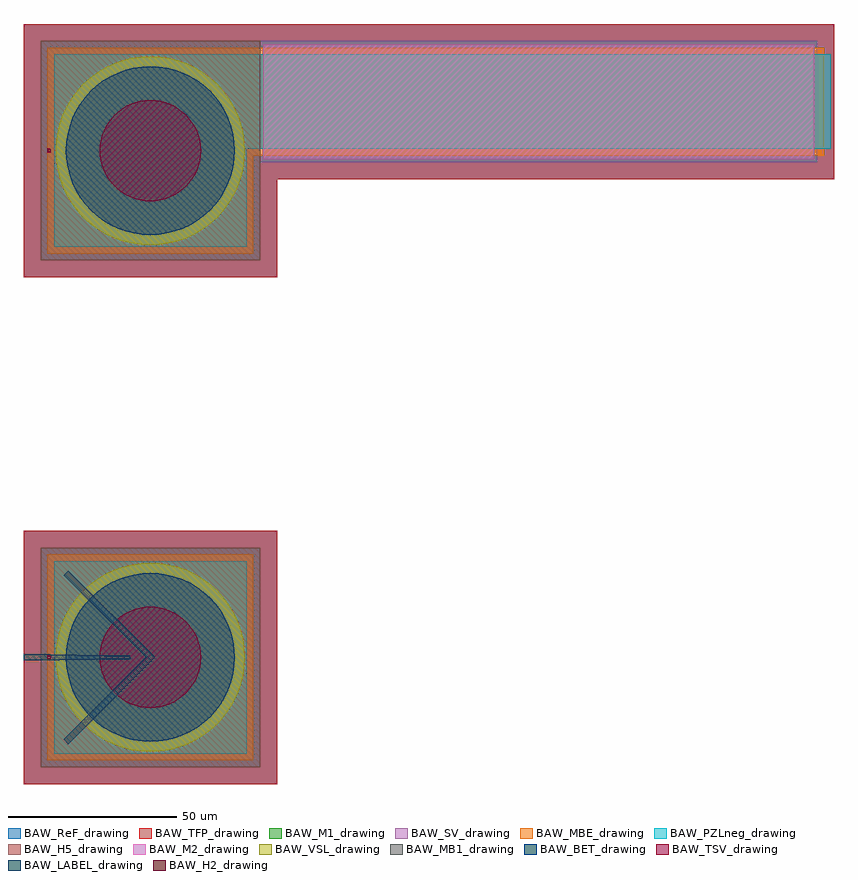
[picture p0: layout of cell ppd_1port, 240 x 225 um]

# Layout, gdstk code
import gdstk
lib = gdstk.Library(unit=1e-6, precision=1e-09)
def R(c, l, rs):  # rectangles x0, y0, x1, y1
    for r in rs: c.add(gdstk.rectangle(r[:2], r[2:], *l))
def P(c, l, *ps):  # polygons
    for p in ps: c.add(gdstk.Polygon(p, *l))
BAW_MBE_drawing = (2, 0)
BAW_SV_drawing = (7, 0)
BAW_M1_drawing = (8, 0)
BAW_MB1_drawing = (10, 0)
BAW_TSV_drawing = (11, 0)
BAW_BET_drawing = (21, 0)
BAW_TFP_drawing = (26, 0)
BAW_ReF_drawing = (33, 0)
BAW_H2_drawing = (40, 0)
BAW_M2_drawing = (81, 0)
BAW_LABEL_drawing = (100, 0)
BAW_H5_drawing = (202, 0)
BAW_VSL_drawing = (246, 0)
BAW_PZLneg_drawing = (264, 0)

ppd_1port = lib.new_cell('ppd_1port')
R(ppd_1port, BAW_MBE_drawing, [(7,7,68,68), (7,157,68,218), (68,186,237,218)])
R(ppd_1port, BAW_SV_drawing, [(5,5,70,70), (5,155,70,220), (70,184,235,220)])
R(ppd_1port, BAW_M1_drawing, [(5,5,70,70), (5,155,70,220), (70,184,235,220)])
P(ppd_1port, BAW_MB1_drawing, [(62.5,187.5),(62.38,189.95),(62.02,192.377),(61.424,194.757),(60.597,197.067),(59.548,199.285),(58.287,201.389),(56.825,203.36),(55.178,205.178),(53.36,206.825),(51.389,208.287),(49.285,209.548),(47.067,210.597),(44.757,211.424),(42.377,212.02),(39.95,212.38),(37.5,212.5),(35.05,212.38),(32.623,212.02),(30.243,211.424),(27.933,210.597),(25.715,209.548),(23.611,208.287),(21.64,206.825),(19.822,205.178),(18.175,203.36),(16.713,201.389),(15.452,199.285),(14.403,197.067),(13.576,194.757),(12.98,192.377),(12.62,189.95),(12.5,187.5),(12.62,185.05),(12.98,182.623),(13.576,180.243),(14.403,177.933),(15.452,175.715),(16.713,173.611),(18.175,171.64),(19.822,169.822),(21.64,168.175),(23.611,166.713),(25.715,165.452),(27.933,164.403),(30.243,163.576),(32.623,162.98),(35.05,162.62),(37.5,162.5),(39.95,162.62),(42.377,162.98),(44.757,163.576),(47.067,164.403),(49.285,165.452),(51.389,166.713),(53.36,168.175),(55.178,169.822),(56.825,171.64),(58.287,173.611),(59.548,175.715),(60.597,177.933),(61.424,180.243),(62.02,182.623),(62.38,185.05)],
  [(62.5,37.5),(62.38,39.95),(62.02,42.377),(61.424,44.757),(60.597,47.067),(59.548,49.285),(58.287,51.389),(56.825,53.36),(55.178,55.178),(53.36,56.825),(51.389,58.287),(49.285,59.548),(47.067,60.597),(44.757,61.424),(42.377,62.02),(39.95,62.38),(37.5,62.5),(35.05,62.38),(32.623,62.02),(30.243,61.424),(27.933,60.597),(25.715,59.548),(23.611,58.287),(21.64,56.825),(19.822,55.178),(18.175,53.36),(16.713,51.389),(15.452,49.285),(14.403,47.067),(13.576,44.757),(12.98,42.377),(12.62,39.95),(12.5,37.5),(12.62,35.05),(12.98,32.623),(13.576,30.243),(14.403,27.933),(15.452,25.715),(16.713,23.611),(18.175,21.64),(19.822,19.822),(21.64,18.175),(23.611,16.713),(25.715,15.452),(27.933,14.403),(30.243,13.576),(32.623,12.98),(35.05,12.62),(37.5,12.5),(39.95,12.62),(42.377,12.98),(44.757,13.576),(47.067,14.403),(49.285,15.452),(51.389,16.713),(53.36,18.175),(55.178,19.822),(56.825,21.64),(58.287,23.611),(59.548,25.715),(60.597,27.933),(61.424,30.243),(62.02,32.623),(62.38,35.05)])
P(ppd_1port, BAW_TSV_drawing, [(52.5,187.5),(52.428,188.97),(52.212,190.426),(51.854,191.854),(51.358,193.24),(50.729,194.571),(49.972,195.834),(49.095,197.016),(48.107,198.107),(47.016,199.095),(45.834,199.972),(44.571,200.729),(43.24,201.358),(41.854,201.854),(40.426,202.212),(38.97,202.428),(37.5,202.5),(36.03,202.428),(34.574,202.212),(33.146,201.854),(31.76,201.358),(30.429,200.729),(29.166,199.972),(27.984,199.095),(26.893,198.107),(25.905,197.016),(25.028,195.834),(24.271,194.571),(23.642,193.24),(23.146,191.854),(22.788,190.426),(22.572,188.97),(22.5,187.5),(22.572,186.03),(22.788,184.574),(23.146,183.146),(23.642,181.76),(24.271,180.429),(25.028,179.166),(25.905,177.984),(26.893,176.893),(27.984,175.905),(29.166,175.028),(30.429,174.271),(31.76,173.642),(33.146,173.146),(34.574,172.788),(36.03,172.572),(37.5,172.5),(38.97,172.572),(40.426,172.788),(41.854,173.146),(43.24,173.642),(44.571,174.271),(45.834,175.028),(47.016,175.905),(48.107,176.893),(49.095,177.984),(49.972,179.166),(50.729,180.429),(51.358,181.76),(51.854,183.146),(52.212,184.574),(52.428,186.03)],
  [(52.5,37.5),(52.428,38.97),(52.212,40.426),(51.854,41.854),(51.358,43.24),(50.729,44.571),(49.972,45.834),(49.095,47.016),(48.107,48.107),(47.016,49.095),(45.834,49.972),(44.571,50.729),(43.24,51.358),(41.854,51.854),(40.426,52.212),(38.97,52.428),(37.5,52.5),(36.03,52.428),(34.574,52.212),(33.146,51.854),(31.76,51.358),(30.429,50.729),(29.166,49.972),(27.984,49.095),(26.893,48.107),(25.905,47.016),(25.028,45.834),(24.271,44.571),(23.642,43.24),(23.146,41.854),(22.788,40.426),(22.572,38.97),(22.5,37.5),(22.572,36.03),(22.788,34.574),(23.146,33.146),(23.642,31.76),(24.271,30.429),(25.028,29.166),(25.905,27.984),(26.893,26.893),(27.984,25.905),(29.166,25.028),(30.429,24.271),(31.76,23.642),(33.146,23.146),(34.574,22.788),(36.03,22.572),(37.5,22.5),(38.97,22.572),(40.426,22.788),(41.854,23.146),(43.24,23.642),(44.571,24.271),(45.834,25.028),(47.016,25.905),(48.107,26.893),(49.095,27.984),(49.972,29.166),(50.729,30.429),(51.358,31.76),(51.854,33.146),(52.212,34.574),(52.428,36.03)])
P(ppd_1port, BAW_BET_drawing, [(62.5,187.5),(62.38,189.95),(62.02,192.377),(61.424,194.757),(60.597,197.067),(59.548,199.285),(58.287,201.389),(56.825,203.36),(55.178,205.178),(53.36,206.825),(51.389,208.287),(49.285,209.548),(47.067,210.597),(44.757,211.424),(42.377,212.02),(39.95,212.38),(37.5,212.5),(35.05,212.38),(32.623,212.02),(30.243,211.424),(27.933,210.597),(25.715,209.548),(23.611,208.287),(21.64,206.825),(19.822,205.178),(18.175,203.36),(16.713,201.389),(15.452,199.285),(14.403,197.067),(13.576,194.757),(12.98,192.377),(12.62,189.95),(12.5,187.5),(12.62,185.05),(12.98,182.623),(13.576,180.243),(14.403,177.933),(15.452,175.715),(16.713,173.611),(18.175,171.64),(19.822,169.822),(21.64,168.175),(23.611,166.713),(25.715,165.452),(27.933,164.403),(30.243,163.576),(32.623,162.98),(35.05,162.62),(37.5,162.5),(39.95,162.62),(42.377,162.98),(44.757,163.576),(47.067,164.403),(49.285,165.452),(51.389,166.713),(53.36,168.175),(55.178,169.822),(56.825,171.64),(58.287,173.611),(59.548,175.715),(60.597,177.933),(61.424,180.243),(62.02,182.623),(62.38,185.05)],
  [(62.5,37.5),(62.38,39.95),(62.02,42.377),(61.424,44.757),(60.597,47.067),(59.548,49.285),(58.287,51.389),(56.825,53.36),(55.178,55.178),(53.36,56.825),(51.389,58.287),(49.285,59.548),(47.067,60.597),(44.757,61.424),(42.377,62.02),(39.95,62.38),(37.5,62.5),(35.05,62.38),(32.623,62.02),(30.243,61.424),(27.933,60.597),(25.715,59.548),(23.611,58.287),(21.64,56.825),(19.822,55.178),(18.175,53.36),(16.713,51.389),(15.452,49.285),(14.403,47.067),(13.576,44.757),(12.98,42.377),(12.62,39.95),(12.5,37.5),(12.62,35.05),(12.98,32.623),(13.576,30.243),(14.403,27.933),(15.452,25.715),(16.713,23.611),(18.175,21.64),(19.822,19.822),(21.64,18.175),(23.611,16.713),(25.715,15.452),(27.933,14.403),(30.243,13.576),(32.623,12.98),(35.05,12.62),(37.5,12.5),(39.95,12.62),(42.377,12.98),(44.757,13.576),(47.067,14.403),(49.285,15.452),(51.389,16.713),(53.36,18.175),(55.178,19.822),(56.825,21.64),(58.287,23.611),(59.548,25.715),(60.597,27.933),(61.424,30.243),(62.02,32.623),(62.38,35.05)])
R(ppd_1port, BAW_TFP_drawing, [(0,0,75,75), (0,150,75,225), (65,179,240,225)])
R(ppd_1port, BAW_ReF_drawing, [(0,0,75,75), (0,150,75,225), (65,179,240,225)])
R(ppd_1port, BAW_H2_drawing, [(7,37,8,38), (7,187,8,188)])
R(ppd_1port, BAW_M2_drawing, [(71,185,234,219)])
P(ppd_1port, BAW_LABEL_drawing, [(31.5,38),(0,38.5),(0,36.5),(31.5,37)])
R(ppd_1port, BAW_H5_drawing, [(5,5,70,70), (7,37,8,38), (5,155,70,220), (7,187,8,188)])
P(ppd_1port, BAW_VSL_drawing, [(65.5,187.5),(65.365,190.244),(64.962,192.963),(64.294,195.628),(63.369,198.215),(62.194,200.699),(60.781,203.056),(59.144,205.263),(57.299,207.299),(55.263,209.144),(53.056,210.781),(50.699,212.194),(48.215,213.369),(45.628,214.294),(42.963,214.962),(40.244,215.365),(37.5,215.5),(34.756,215.365),(32.037,214.962),(29.372,214.294),(26.785,213.369),(24.301,212.194),(21.944,210.781),(19.737,209.144),(17.701,207.299),(15.856,205.263),(14.219,203.056),(12.806,200.699),(11.631,198.215),(10.706,195.628),(10.038,192.963),(9.635,190.244),(9.5,187.5),(9.635,184.756),(10.038,182.037),(10.706,179.372),(11.631,176.785),(12.806,174.301),(14.219,171.944),(15.856,169.737),(17.701,167.701),(19.737,165.856),(21.944,164.219),(24.301,162.806),(26.785,161.631),(29.372,160.706),(32.037,160.038),(34.756,159.635),(37.5,159.5),(40.244,159.635),(42.963,160.038),(45.628,160.706),(48.215,161.631),(50.699,162.806),(53.056,164.219),(55.263,165.856),(57.299,167.701),(59.144,169.737),(60.781,171.944),(62.194,174.301),(63.369,176.785),(64.294,179.372),(64.962,182.037),(65.365,184.756)],
  [(65.5,37.5),(65.365,40.244),(64.962,42.963),(64.294,45.628),(63.369,48.215),(62.194,50.699),(60.781,53.056),(59.144,55.263),(57.299,57.299),(55.263,59.144),(53.056,60.781),(50.699,62.194),(48.215,63.369),(45.628,64.294),(42.963,64.962),(40.244,65.365),(37.5,65.5),(34.756,65.365),(32.037,64.962),(29.372,64.294),(26.785,63.369),(24.301,62.194),(21.944,60.781),(19.737,59.144),(17.701,57.299),(15.856,55.263),(14.219,53.056),(12.806,50.699),(11.631,48.215),(10.706,45.628),(10.038,42.963),(9.635,40.244),(9.5,37.5),(9.635,34.756),(10.038,32.037),(10.706,29.372),(11.631,26.785),(12.806,24.301),(14.219,21.944),(15.856,19.737),(17.701,17.701),(19.737,15.856),(21.944,14.219),(24.301,12.806),(26.785,11.631),(29.372,10.706),(32.037,10.038),(34.756,9.635),(37.5,9.5),(40.244,9.635),(42.963,10.038),(45.628,10.706),(48.215,11.631),(50.699,12.806),(53.056,14.219),(55.263,15.856),(57.299,17.701),(59.144,19.737),(60.781,21.944),(62.194,24.301),(63.369,26.785),(64.294,29.372),(64.962,32.037),(65.365,34.756)])
R(ppd_1port, BAW_PZLneg_drawing, [(9,9,66,66), (9,159,66,216), (66,188,239,216)])
ppd_1port.add(gdstk.FlexPath([(12.5,62.5),(37.5,37.5),(12.5,12.5)], 2, ends="flush", simple_path=True, layer=100, datatype=0))  # BAW_LABEL_drawing

lib.write_gds('ppd_1port.gds')
